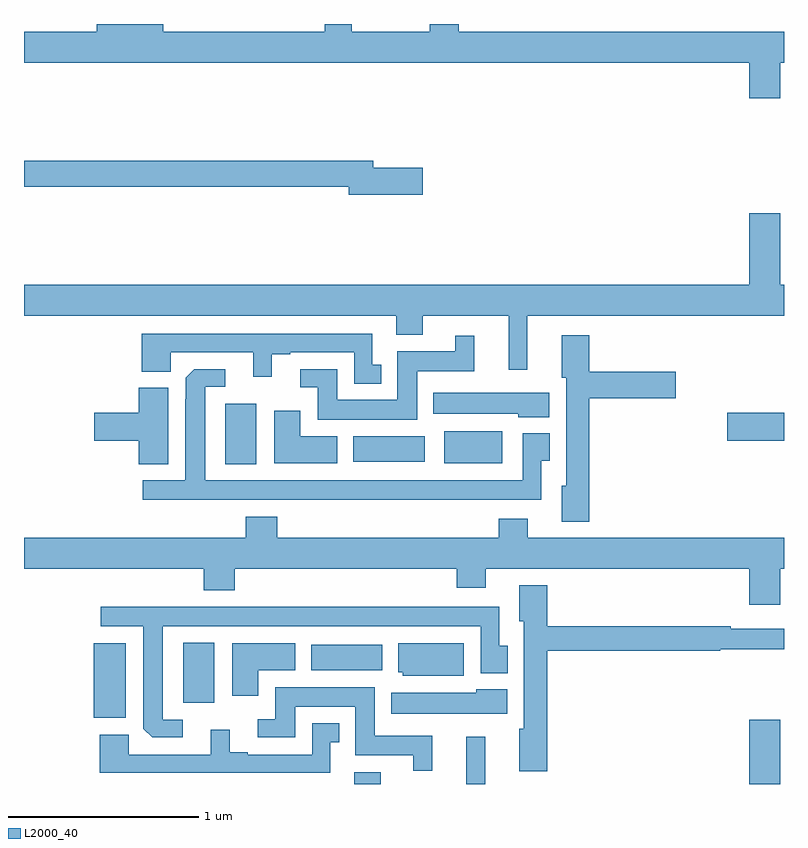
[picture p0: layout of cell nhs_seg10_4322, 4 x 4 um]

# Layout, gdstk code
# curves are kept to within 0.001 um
import gdstk
lib = gdstk.Library(unit=1e-6, precision=1e-09)
def R(c, l, rs):  # rectangles x0, y0, x1, y1
    for r in rs: c.add(gdstk.rectangle(r[:2], r[2:], *l))
def P(c, l, *ps):  # polygons
    for p in ps: c.add(gdstk.Polygon(p, *l))
L2000_40 = (2000, 40)

nhs_seg10_4322 = lib.new_cell('nhs_seg10_4322')
R(nhs_seg10_4322, L2000_40, [(354.737,1316.5,354.877,1316.563), (355.328,1316.5,355.427,1316.749), (356.816,1316.5,356.98,1316.839), (353.366,1316.849,353.536,1317.241), (353.837,1316.928,354.001,1317.244), (354.512,1317.098,354.886,1317.232), (354.059,1318.184,354.223,1318.501), (355.211,1318.187,355.516,1318.357), (354.734,1318.196,355.108,1318.33), (356.7,1318.307,357,1318.454)])
P(nhs_seg10_4322, L2000_40, [(356.98,1320.296),(357,1320.296),(357,1320.46),(355.289,1320.46),(355.289,1320.5),(355.136,1320.5),(355.136,1320.46),(354.724,1320.46),(354.724,1320.5),(354.584,1320.5),(354.584,1320.46),(353.734,1320.46),(353.734,1320.5),(353.384,1320.5),(353.384,1320.46),(353,1320.46),(353,1320.296),(356.816,1320.296),(356.816,1320.108),(356.98,1320.108)],
  [(355.099,1319.744),(354.838,1319.744),(354.838,1319.78),(353,1319.78),(353,1319.644),(354.71,1319.644),(354.71,1319.602),(355.099,1319.602)],
  [(355.649,1318.964),(357,1318.964),(357,1319.128),(356.98,1319.128),(356.98,1319.503),(356.816,1319.503),(356.816,1319.128),(353,1319.128),(353,1318.964),(354.959,1318.964),(354.959,1318.865),(355.099,1318.865),(355.099,1318.964),(355.55,1318.964),(355.55,1318.68),(355.649,1318.68)],
  [(354.88,1318.707),(354.834,1318.707),(354.834,1318.869),(353.621,1318.869),(353.621,1318.67),(353.772,1318.67),(353.772,1318.773),(354.206,1318.773),(354.206,1318.644),(354.304,1318.644),(354.304,1318.761),(354.4,1318.761),(354.4,1318.773),(354.738,1318.773),(354.738,1318.607),(354.88,1318.607)],
  [(355.976,1318.529),(356.431,1318.529),(356.431,1318.671),(355.976,1318.671),(355.976,1318.861),(355.829,1318.861),(355.829,1318.638),(355.853,1318.638),(355.853,1318.071),(355.829,1318.071),(355.829,1317.881),(355.976,1317.881)],
  [(355.069,1318.673),(355.37,1318.673),(355.37,1318.858),(355.271,1318.858),(355.271,1318.777),(354.965,1318.777),(354.965,1318.522),(354.649,1318.522),(354.649,1318.683),(354.453,1318.683),(354.453,1318.587),(354.545,1318.587),(354.545,1318.418),(355.069,1318.418)],
  [(355.723,1318.201),(355.768,1318.201),(355.768,1318.345),(355.626,1318.345),(355.626,1318.099),(353.953,1318.099),(353.953,1318.59),(354.058,1318.59),(354.058,1318.683),(353.896,1318.683),(353.85,1318.637),(353.849,1318.099),(353.625,1318.099),(353.625,1317.995),(355.723,1317.995)],
  [(353.758,1318.585),(353.603,1318.585),(353.603,1318.454),(353.37,1318.454),(353.37,1318.307),(353.603,1318.307),(353.603,1318.184),(353.758,1318.184)],
  [(355.765,1318.558),(355.154,1318.558),(355.154,1318.448),(355.602,1318.448),(355.602,1318.43),(355.765,1318.43)],
  [(354.649,1318.33),(354.454,1318.33),(354.454,1318.465),(354.317,1318.465),(354.317,1318.187),(354.649,1318.187)],
  [(356.98,1317.632),(357,1317.632),(357,1317.796),(355.651,1317.796),(355.651,1317.895),(355.499,1317.895),(355.499,1317.796),(354.332,1317.796),(354.332,1317.907),(354.167,1317.907),(354.167,1317.796),(353,1317.796),(353,1317.632),(353.945,1317.632),(353.945,1317.521),(354.11,1317.521),(354.11,1317.632),(355.277,1317.632),(355.277,1317.533),(355.429,1317.533),(355.429,1317.632),(356.816,1317.632),(356.816,1317.444),(356.98,1317.444)],
  [(355.754,1317.202),(356.664,1317.202),(356.664,1317.21),(357,1317.21),(357,1317.318),(356.72,1317.318),(356.72,1317.331),(355.754,1317.331),(355.754,1317.547),(355.607,1317.547),(355.607,1317.357),(355.631,1317.357),(355.631,1316.79),(355.607,1316.79),(355.607,1316.568),(355.754,1316.568)],
  [(353.836,1316.838),(353.731,1316.838),(353.731,1317.329),(355.404,1317.329),(355.404,1317.084),(355.546,1317.084),(355.546,1317.228),(355.501,1317.228),(355.501,1317.433),(353.403,1317.433),(353.403,1317.329),(353.627,1317.329),(353.628,1316.791),(353.674,1316.745),(353.836,1316.745)],
  [(355.315,1317.241),(354.971,1317.241),(354.971,1317.087),(354.993,1317.087),(354.993,1317.071),(355.315,1317.071)],
  [(354.232,1317.098),(354.427,1317.098),(354.427,1317.241),(354.095,1317.241),(354.095,1316.964),(354.232,1316.964)],
  [(355.148,1316.755),(354.847,1316.755),(354.847,1317.01),(354.323,1317.01),(354.323,1316.841),(354.231,1316.841),(354.231,1316.745),(354.427,1316.745),(354.427,1316.906),(354.743,1316.906),(354.743,1316.651),(355.049,1316.651),(355.049,1316.571),(355.148,1316.571)],
  [(355.543,1316.998),(355.38,1316.998),(355.38,1316.98),(354.932,1316.98),(354.932,1316.87),(355.543,1316.87)],
  [(354.612,1316.721),(354.658,1316.721),(354.658,1316.821),(354.516,1316.821),(354.516,1316.655),(354.178,1316.655),(354.178,1316.668),(354.082,1316.668),(354.082,1316.785),(353.984,1316.785),(353.984,1316.655),(353.55,1316.655),(353.55,1316.758),(353.399,1316.758),(353.399,1316.559),(354.612,1316.559)])

lib.write_gds('nhs_seg10_4322.gds')
